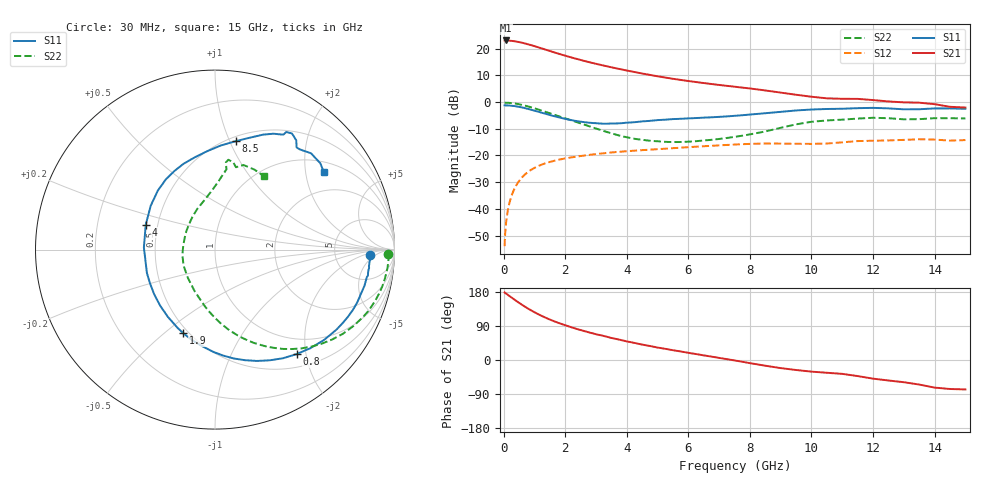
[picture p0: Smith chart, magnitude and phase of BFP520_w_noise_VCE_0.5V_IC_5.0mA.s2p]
! Infineon Technologies  Discrete & RF Semiconductors
! BFP520
! VCE =  0.5 V,  IC =  5.0 mA
! Common Emitter S-Parameters:  Oct 2015
# GHz  S  MA  R  50
!  f  S11  S21  S12  S22
! GHz  MAG  ANG  MAG  ANG  MAG  ANG  MAG  ANG
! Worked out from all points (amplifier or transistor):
!   109 points, 30 MHz to 15 GHz, reference 50 ohm
!   highest |S21| = 23.0 dB at 70 MHz (marker M1)
!   |S21| within 3 dB of that: start of sweep to 1.242 GHz
!   unconditionally stable (mu >= 1): 3.878 GHz to end of sweep
!   at 450 MHz: K = 0.14, MSG = 26.5 dB, |S12| = -30.4 dB
!   at 4 GHz: K = 1.02, MAG = 14.3 dB, |S12| = -18.4 dB
!   at 15 GHz: K = 1.42, MAG = 2.2 dB, |S12| = -14.3 dB
!   lowest NFmin = 1.18 dB at 900 MHz
!   S11 on the Smith chart (normalised r, x): 30 MHz: 13, -3; 800 MHz: 0.71, -1.83; 1.9 GHz: 0.47, -0.58; 4 GHz: 0.43, +0.14; 8.5 GHz: 0.54, +1.06; 15 GHz: 1.30, +2.53
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0.03  0.8651 -2.0  14.15 178.2  0.002 88.2  0.9666 -1.4
0.06  0.8656 -3.8  14.06 176.2  0.0041 85.6  0.9677 -2.9
0.07  0.8631 -4.8  14.18 175.5  0.0049 88.0  0.9677 -3.4
0.25  0.8494 -17.0  13.95 165.1  0.0172 80.9  0.9544 -12.4
0.45  0.8198 -30.2  13.39 153.6  0.0301 73.6  0.9186 -22.1
0.6  0.7889 -39.7  12.85 145.4  0.0389 68.7  0.8811 -28.9
0.8  0.7388 -52.0  11.97 135.2  0.0495 62.4  0.8228 -37.5
1  0.6876 -63.8  11.1 126.1  0.0584 57.0  0.7612 -45.3
1.3  0.6151 -80.3  9.798 113.9  0.0694 50.2  0.6707 -55.6
1.6  0.5486 -96.0  8.627 103.4  0.0781 44.6  0.5872 -64.6
1.9  0.4984 -110.7  7.644 94.5  0.0855 40.1  0.5158 -72.7
2.2  0.4575 -125.1  6.808 86.3  0.0918 36.2  0.453 -80.3
2.6  0.4207 -143.6  5.905 76.7  0.0992 31.8  0.3803 -90.1
3.1  0.396 -165.1  5.025 66.2  0.1074 26.8  0.3052 -103.1
4  0.4101 160.2  3.88 49.0  0.1199 18.8  0.2186 -133.7
5.1  0.4612 132.0  2.962 31.6  0.1319 10.7  0.182 -174.0
6.1  0.4958 115.7  2.425 17.6  0.1438 3.8  0.1822 156.7
7.6  0.5559 92.8  1.902 -2.5  0.1606 -7.8  0.2267 121.9
8.5  0.6159 79.0  1.643 -15.1  0.1668 -16.0  0.281 102.3
10.5  0.7394 60.2  1.17 -33.7  0.1669 -26.7  0.4509 81.9
13  0.7285 51.4  0.984 -58.6  0.1951 -45.1  0.4736 75.7
15  0.7444 35.5  0.787 -77.7  0.1936 -60.1  0.4916 56.6
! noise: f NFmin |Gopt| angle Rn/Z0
0.45  1.2  0.47  3  0.32
0.9  1.18  0.45  10  0.34
1.9  1.41  0.39  21  0.29
2.4  1.45  0.35  34  0.28
3.5  1.4  0.32  56  0.26
